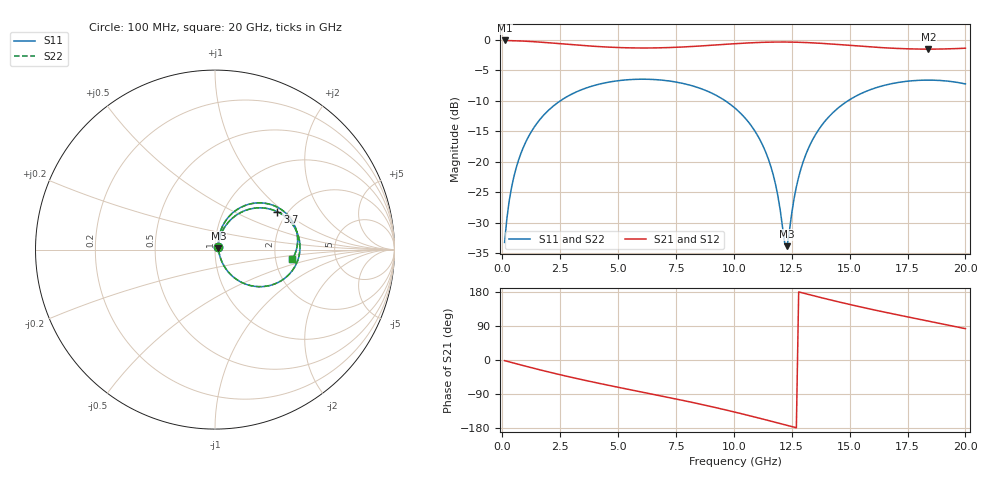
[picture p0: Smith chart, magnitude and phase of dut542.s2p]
! Touchstone file exported from HFSS 2026.1.0
!  File:  C:/ffzhzh/LocalFiles/Ansys_Project_Files/temp_train_TSV_RDL_542_1783113684_53076.aedt
!  Generated:  05:35:14 AM Jul  4, 2026
!  Design:  TSV_RDL
!  Project:  temp_train_TSV_RDL_542_1783113684_53076
! Variables:
!  h_bsmrdl = 4.82um
!  h_ox = 20um
!  h_rdl = 5um
!  h_sub = 97.49um
!  h_tmrdl = 5.3um
!  h_tsv = 97.49um
!  h_via = 3um
!  l_bsmrdl = 623.01um
!  l_sub = 4559.23um
!  l_tmrdl = 537.42um
!  m_sub = 200um
!  pitch = 49.12um
!  r_tsv = 7.37um
!  s_tmrdl = 10um
!  w_bsmrdl = 29.22um
!  w_sub = 500um
!  w_tmrdl = 17.62um
!  x_tsv_center1 = 546.23um
!  x_tsv_center2 = 1198.46um
!  x_tsv_center3 = 1753.5um
!  x_tsv_center4 = 2405.73um
!  x_tsv_center5 = 2960.77um
!  x_tsv_center6 = 3613um
# GHz S MA R 50.000000
! Terminal data exported
! Port[1] = TM_RDL1_1_T1
! Port[2] = TM_RDL5_1_T1
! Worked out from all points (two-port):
!   200 points, 100 MHz to 20 GHz, reference 50 ohm
!   highest |S21| = -0.13 dB at 100 MHz (marker M1); lowest = -1.6 dB at 18.4 GHz (marker M2)
!   |S21| within 3 dB of the highest: start of sweep to end of sweep
!   lowest |S11| = -33.9 dB at 12.3 GHz (marker M3), VSWR 1.04, Z = 51.9 + j0.739 ohm
!   |S11| at or under -10 dB: start of sweep to 2.518 GHz; 9.621 GHz to 14.94 GHz (5.318 GHz wide, 43.3 % of centre)
!   |S22| runs from -33.7 to -6.5 dB; largest |S21 - S12| = 1.7e-14
!   S11 on the Smith chart (normalised r, x): 100 MHz: 1.03, +0.03; 3.7 GHz: 1.77, +0.90; 20 GHz: 2.48, -0.33
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0.1  0.02175 44.3  0.9848 -1.7  0.9848 -1.7  0.02175 44.3
! Gamma 0 0 0 0
! Port Impedance 50 0 50 0
0.3  0.0478 64.7  0.9824 -5.0  0.9824 -5.0  0.0478 64.7
0.5  0.07514 68.4  0.9799 -8.2  0.9799 -8.2  0.07513 68.4
1.1  0.1561 65.2  0.9687 -17.8  0.9687 -17.8  0.1561 65.2
2.1  0.2747 52.4  0.9397 -33.1  0.9397 -33.1  0.2747 52.4
3.5  0.3937 33.9  0.8946 -52.7  0.8946 -52.7  0.3937 33.9
3.7  0.4061 31.3  0.8889 -55.4  0.8889 -55.4  0.4061 31.3
5.3  0.4671 11.8  0.8581 -75.7  0.8581 -75.7  0.4671 11.8
6.8  0.4675 -5.8  0.8569 -94.1  0.8569 -94.1  0.4675 -5.8
8.6  0.3954 -27.7  0.8883 -117.2  0.8883 -117.2  0.3954 -27.7
10.1  0.2695 -46.9  0.9278 -138.3  0.9278 -138.3  0.2695 -46.9
10.9  0.1791 -56.6  0.9453 -150.4  0.9453 -150.4  0.1791 -56.5
11.5  0.1038 -61.1  0.9536 -159.8  0.9536 -159.8  0.1038 -60.9
11.9  0.05254 -56.3  0.956 -166.1  0.956 -166.1  0.05267 -55.8
12.2  0.02128 -15.8  0.956 -170.9  0.956 -170.9  0.02166 -15.2
12.3  0.02027 20.5  0.9557 -172.5  0.9557 -172.5  0.0207 20.3
12.8  0.07486 72.8  0.9515 179.6  0.9515 179.6  0.07501 72.5
13.4  0.1509 71.4  0.9413 170.3  0.9413 170.3  0.151 71.2
14.7  0.2944 56.2  0.9067 150.8  0.9067 150.8  0.2944 56.1
16.7  0.4309 31.4  0.8534 123.9  0.8534 123.9  0.431 31.3
18.4  0.4659 11.5  0.8361 102.7  0.8361 102.7  0.466 11.4
20  0.4335 -7.2  0.8509 82.7  0.8509 82.7  0.4336 -7.2
